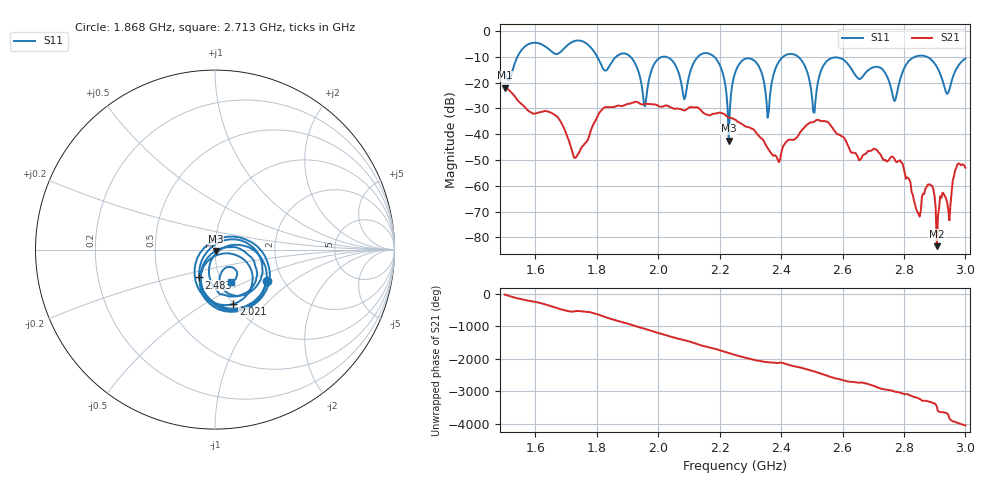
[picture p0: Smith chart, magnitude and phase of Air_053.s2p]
# HZ S RI R 50
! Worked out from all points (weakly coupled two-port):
!   404 points, 1.5 GHz to 3 GHz, reference 50 ohm
!   highest |S21| = -21.95 dB at 1.5 GHz (marker M1); lowest = -83.4 dB at 2.907 GHz (marker M2)
!   lowest |S11| = -42.5 dB at 2.23 GHz (marker M3), VSWR 1.02, Z = 50.3 - j0.696 ohm
!   |S11| at or under -10 dB: 2.183 GHz to 2.406 GHz (223.5 MHz wide, 9.74 % of centre); 2.456 GHz to 2.835 GHz (378.4 MHz wide, 14.3 % of centre); 2.875 GHz to end of sweep (the widest 3 of 7)
!   S12 and S22 are empty: the file has one direction only
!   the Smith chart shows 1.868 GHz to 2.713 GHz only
!   S11 on the Smith chart (normalised r, x): 1.868 GHz: 1.66, -0.65; 2.021 GHz: 1.00, -0.68; 2.483 GHz: 0.80, -0.26; 2.713 GHz: 1.11, -0.43
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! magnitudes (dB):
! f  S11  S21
! 1.5 GHz  -16.1  -22.0
! 1.753 GHz  -3.9  -44.7
! 1.868 GHz  -9.4  -28.9
! 1.958 GHz  -29.1  -28.2
! 2.002 GHz  -10.5  -29.2
! 2.021 GHz  -9.9  -28.9
! 2.084 GHz  -26.4  -30.8
! 2.177 GHz  -9.5  -32.1
! 2.23 GHz  -42.5  -33.5
! 2.252 GHz  -15.7  -34.4
! 2.315 GHz  -11.7  -38.7
! 2.356 GHz  -33.6  -45.4
! 2.39 GHz  -12.5  -50.0
! 2.483 GHz  -15.0  -36.5
! 2.501 GHz  -26.3  -35.4
! 2.561 GHz  -10.6  -36.5
! 2.713 GHz  -13.8  -46.3
! 2.751 GHz  -19.2  -50.1
! 2.888 GHz  -11.0  -59.9
! 2.907 GHz  -13.8  -83.4
! 2.94 GHz  -24.4  -66.4
! 3 GHz  -10.6  -53.0
